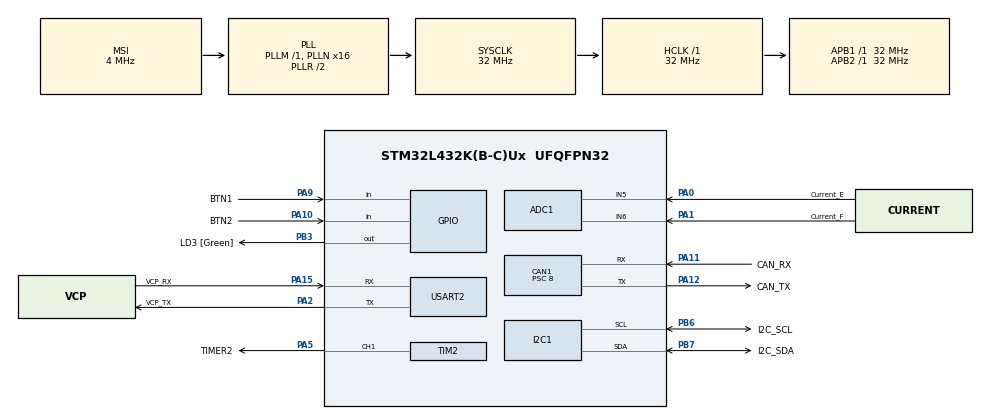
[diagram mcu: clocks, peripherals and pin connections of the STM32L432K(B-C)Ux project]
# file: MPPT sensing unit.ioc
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ADC1.Channel-0\#ChannelRegularConversion=ADC_CHANNEL_5
ADC1.Channel-1\#ChannelRegularConversion=ADC_CHANNEL_6
ADC1.ContinuousConvMode=DISABLE
ADC1.NbrOfConversion=2
ADC1.NbrOfConversionFlag=1
ADC1.OffsetNumber-0\#ChannelRegularConversion=ADC_OFFSET_NONE
ADC1.OffsetNumber-1\#ChannelRegularConversion=ADC_OFFSET_NONE
ADC1.Rank-0\#ChannelRegularConversion=1
ADC1.Rank-1\#ChannelRegularConversion=2
ADC1.SamplingTime-0\#ChannelRegularConversion=ADC_SAMPLETIME_2CYCLES_5
ADC1.SamplingTime-1\#ChannelRegularConversion=ADC_SAMPLETIME_2CYCLES_5
ADC1.master=1
CAN1.BS1=CAN_BS1_7TQ
CAN1.BS2=CAN_BS2_8TQ
CAN1.CalculateBaudRate=250000
CAN1.CalculateTimeBit=4000
CAN1.CalculateTimeQuantum=250.0
CAN1.Prescaler=8
Dma.ADC1.2.Direction=DMA_PERIPH_TO_MEMORY
Dma.ADC1.2.Instance=DMA1_Channel1
Dma.ADC1.2.MemDataAlignment=DMA_MDATAALIGN_HALFWORD
Dma.ADC1.2.MemInc=DMA_MINC_ENABLE
Dma.ADC1.2.Mode=DMA_NORMAL
Dma.ADC1.2.PeriphDataAlignment=DMA_PDATAALIGN_HALFWORD
Dma.ADC1.2.PeriphInc=DMA_PINC_DISABLE
Dma.ADC1.2.Priority=DMA_PRIORITY_LOW
Dma.I2C1_RX.0.Direction=DMA_PERIPH_TO_MEMORY
Dma.I2C1_RX.0.Instance=DMA1_Channel7
Dma.I2C1_RX.0.MemDataAlignment=DMA_MDATAALIGN_BYTE
Dma.I2C1_RX.0.MemInc=DMA_MINC_ENABLE
Dma.I2C1_RX.0.Mode=DMA_NORMAL
Dma.I2C1_RX.0.PeriphDataAlignment=DMA_PDATAALIGN_BYTE
Dma.I2C1_RX.0.PeriphInc=DMA_PINC_DISABLE
Dma.I2C1_RX.0.Priority=DMA_PRIORITY_LOW
Dma.I2C1_TX.1.Direction=DMA_MEMORY_TO_PERIPH
Dma.I2C1_TX.1.Instance=DMA1_Channel6
Dma.I2C1_TX.1.MemDataAlignment=DMA_MDATAALIGN_BYTE
Dma.I2C1_TX.1.MemInc=DMA_MINC_ENABLE
Dma.I2C1_TX.1.Mode=DMA_NORMAL
Dma.I2C1_TX.1.PeriphDataAlignment=DMA_PDATAALIGN_BYTE
Dma.I2C1_TX.1.PeriphInc=DMA_PINC_DISABLE
Dma.I2C1_TX.1.Priority=DMA_PRIORITY_LOW
Dma.Request0=I2C1_RX
Dma.Request1=I2C1_TX
Dma.Request2=ADC1
I2C1.Timing=0x00707CBB
Mcu.Family=STM32L4
Mcu.Name=STM32L432K(B-C)Ux
Mcu.Package=UFQFPN32
NVIC.DMA1_Channel1_IRQn=true\:0\:0\:false\:false\:true\:false\:true\:true
NVIC.DMA1_Channel6_IRQn=true\:0\:0\:false\:false\:true\:false\:true\:true
NVIC.DMA1_Channel7_IRQn=true\:0\:0\:false\:false\:true\:false\:true\:true
NVIC.I2C1_ER_IRQn=true\:0\:0\:false\:false\:true\:true\:true\:true
NVIC.I2C1_EV_IRQn=true\:0\:0\:false\:false\:true\:true\:true\:true
NVIC.PriorityGroup=NVIC_PRIORITYGROUP_4
NVIC.TIM2_IRQn=true\:0\:0\:false\:false\:true\:true\:true\:true
PA0.GPIO_Label=Current_E
PA0.Signal=ADCx_IN5
PA1.GPIO_Label=Current_F
PA1.Signal=ADCx_IN6
PA10.GPIO_Label=BTN2
PA10.Signal=GPIO_Input
PA11.GPIO_Label=CAN_RX
PA11.Mode=CAN_Activate
PA11.Signal=CAN1_RX
PA12.GPIO_Label=CAN_TX
PA12.Mode=CAN_Activate
PA12.Signal=CAN1_TX
PA13\ (JTMS-SWDIO).GPIO_Label=SWDIO
PA13\ (JTMS-SWDIO).Mode=Serial_Wire
PA13\ (JTMS-SWDIO).Signal=SYS_JTMS-SWDIO
PA14\ (JTCK-SWCLK).GPIO_Label=SWCLK
PA14\ (JTCK-SWCLK).Mode=Serial_Wire
PA14\ (JTCK-SWCLK).Signal=SYS_JTCK-SWCLK
PA15\ (JTDI).GPIO_Label=VCP_RX
PA15\ (JTDI).Mode=Asynchronous
PA15\ (JTDI).Signal=USART2_RX
PA2.GPIO_Label=VCP_TX
PA2.Mode=Asynchronous
PA2.Signal=USART2_TX
PA5.GPIO_Label=TIMER2
PA5.Signal=S_TIM2_CH1
PA9.GPIO_Label=BTN1
PA9.GPIO_Mode=GPIO_MODE_INPUT
PA9.Signal=GPIO_Input
PB3\ (JTDO-TRACESWO).GPIO_Label=LD3 [Green]
PB3\ (JTDO-TRACESWO).Signal=GPIO_Output
PB6.GPIO_Label=I2C_SCL
PB6.GPIO_Pu=GPIO_PULLUP
PB6.Mode=I2C
PB6.Signal=I2C1_SCL
PB7.GPIO_Label=I2C_SDA
PB7.GPIO_Pu=GPIO_PULLUP
PB7.Mode=I2C
PB7.Signal=I2C1_SDA
PC14-OSC32_IN\ (PC14).Mode=LSE-External-Oscillator
PC14-OSC32_IN\ (PC14).Signal=RCC_OSC32_IN
PC15-OSC32_OUT\ (PC15).Mode=LSE-External-Oscillator
PC15-OSC32_OUT\ (PC15).Signal=RCC_OSC32_OUT
ProjectManager.HeapSize=0x200
ProjectManager.StackSize=0x400
ProjectManager.TargetToolchain=STM32CubeIDE
RCC.ADCFreq_Value=32000000
RCC.AHBFreq_Value=32000000
RCC.APB1Freq_Value=32000000
RCC.APB1TimFreq_Value=32000000
RCC.APB2Freq_Value=32000000
RCC.APB2TimFreq_Value=32000000
RCC.CortexFreq_Value=32000000
RCC.HCLKFreq_Value=32000000
RCC.HSE_VALUE=8000000
RCC.HSI16_VALUE=16000000
RCC.HSI48_VALUE=48000000
RCC.HSI_VALUE=16000000
RCC.MSI_VALUE=4000000
RCC.PLLMUL=RCC_PLLMUL_4
RCC.PLLN=16
RCC.PLLSAI1N=16
RCC.SYSCLKFreq_VALUE=32000000
RCC.SYSCLKSource=RCC_SYSCLKSOURCE_PLLCLK
RCC.USBFreq_Value=32000000
RCC.VCOOutputFreq_Value=64000000
SH.ADCx_IN5.0=ADC1_IN5,IN5-Single-Ended
SH.ADCx_IN6.0=ADC1_IN6,IN6-Single-Ended
SH.S_TIM2_CH1.0=TIM2_CH1,Forced Output1 CH1
TIM2.Channel-Forced\ Output1\ CH1=TIM_CHANNEL_1
TIM2.Period=10
TIM2.Prescaler=32000 - 1
USART2.VirtualMode-Asynchronous=VM_ASYNC
VP_TIM2_VS_ClockSourceINT.Mode=Internal
board=NUCLEO-L432KC

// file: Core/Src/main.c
/* USER CODE BEGIN Header */
/**
  ******************************************************************************
  * @file           : main.c
  * @brief          : Main program body
  ******************************************************************************
  * @attention
  *
  * Copyright (c) 2023 STMicroelectronics.
  * All rights reserved.
  *
  * This software is licensed under terms that can be found in the LICENSE file
  * in the root directory of this software component.
  * If no LICENSE file comes with this software, it is provided AS-IS.
  *
  ******************************************************************************
  */
/* USER CODE END Header */
#include "main.h"

/* USER CODE BEGIN Includes */
#include <stdio.h>
#include <string.h>
#include <stdbool.h>

#include "HSB_DebugPrint.h"
#include "HSB_VoltageModule.h"
#include "HSB_CurrentModule.h"
/* USER CODE END Includes */

ADC_HandleTypeDef hadc1;
DMA_HandleTypeDef hdma_adc1;

CAN_HandleTypeDef hcan1;

I2C_HandleTypeDef hi2c1;
DMA_HandleTypeDef hdma_i2c1_rx;
DMA_HandleTypeDef hdma_i2c1_tx;

TIM_HandleTypeDef htim2;

UART_HandleTypeDef huart2;

/* USER CODE BEGIN PV */

float MiliCurrentE;
float MiliCurrentF;
float CurrentE;
float CurrentF;
float VoltageE;
float VoltageF;
float PowerE;
float PowerF;

CAN_TxHeaderTypeDef   	TxHeader;
uint8_t               	TxData[8];
uint32_t              	TxMailbox;

/* USER CODE END PV */

void SystemClock_Config(void);
static void MX_GPIO_Init(void);
static void MX_DMA_Init(void);
static void MX_USART2_UART_Init(void);
static void MX_ADC1_Init(void);
static void MX_I2C1_Init(void);
static void MX_CAN1_Init(void);
static void MX_TIM2_Init(void);
/* USER CODE BEGIN PFP */
void sendMessage(uint8_t group);
void CAN_TX_filter_init(void);
/* USER CODE END PFP */

int main(void)
{

  /* MCU Configuration--------------------------------------------------------*/

  /* Reset of all peripherals, Initializes the Flash interface and the Systick. */
  HAL_Init();

  /* Configure the system clock */
  SystemClock_Config();

  /* Initialize all configured peripherals */
  MX_GPIO_Init();
  MX_DMA_Init();
  MX_USART2_UART_Init();
  MX_ADC1_Init();
  MX_I2C1_Init();
  MX_CAN1_Init();
  MX_TIM2_Init();
  /* USER CODE BEGIN 2 */
  CAN_TX_filter_init();
  HSB_DebugPrint_Init(false);
  HSB_VoltageModule_Init(0x68);

  //HAL_ADC_Start_DMA(&hadc1, (uint32_t *) rawValues, 2);
  /* USER CODE END 2 */

  /* Infinite loop */
  while (1)
  {

    /* USER CODE BEGIN 3 */
	  MX_ADC1_Init();
	  HSB_ReadCurrentModule(&MiliCurrentE, &MiliCurrentF);
	  HSB_VoltageModule(&VoltageE, &VoltageF);

	  CurrentE = MiliCurrentE / 1000;
	  CurrentF = MiliCurrentF / 1000;

	  PowerE = VoltageE * CurrentE;
	  PowerF = VoltageF * CurrentF;

	  HAL_Delay(1000);
  }
  /* USER CODE END 3 */
}

void SystemClock_Config(void)
{
  RCC_OscInitTypeDef RCC_OscInitStruct = {0};
  RCC_ClkInitTypeDef RCC_ClkInitStruct = {0};

  /** Configure the main internal regulator output voltage
  */
  if (HAL_PWREx_ControlVoltageScaling(PWR_REGULATOR_VOLTAGE_SCALE1) != HAL_OK)
  {
    Error_Handler();
  }

  /** Configure LSE Drive Capability
  */
  HAL_PWR_EnableBkUpAccess();
  __HAL_RCC_LSEDRIVE_CONFIG(RCC_LSEDRIVE_LOW);

  /** Initializes the RCC Oscillators according to the specified parameters
  * in the RCC_OscInitTypeDef structure.
  */
  RCC_OscInitStruct.OscillatorType = RCC_OSCILLATORTYPE_LSE|RCC_OSCILLATORTYPE_MSI;
  RCC_OscInitStruct.LSEState = RCC_LSE_ON;
  RCC_OscInitStruct.MSIState = RCC_MSI_ON;
  RCC_OscInitStruct.MSICalibrationValue = 0;
  RCC_OscInitStruct.MSIClockRange = RCC_MSIRANGE_6;
  RCC_OscInitStruct.PLL.PLLState = RCC_PLL_ON;
  RCC_OscInitStruct.PLL.PLLSource = RCC_PLLSOURCE_MSI;
  RCC_OscInitStruct.PLL.PLLM = 1;
  RCC_OscInitStruct.PLL.PLLN = 16;
  RCC_OscInitStruct.PLL.PLLP = RCC_PLLP_DIV7;
  RCC_OscInitStruct.PLL.PLLQ = RCC_PLLQ_DIV2;
  RCC_OscInitStruct.PLL.PLLR = RCC_PLLR_DIV2;
  if (HAL_RCC_OscConfig(&RCC_OscInitStruct) != HAL_OK)
  {
    Error_Handler();
  }

  /** Initializes the CPU, AHB and APB buses clocks
  */
  RCC_ClkInitStruct.ClockType = RCC_CLOCKTYPE_HCLK|RCC_CLOCKTYPE_SYSCLK
                              |RCC_CLOCKTYPE_PCLK1|RCC_CLOCKTYPE_PCLK2;
  RCC_ClkInitStruct.SYSCLKSource = RCC_SYSCLKSOURCE_PLLCLK;
  RCC_ClkInitStruct.AHBCLKDivider = RCC_SYSCLK_DIV1;
  RCC_ClkInitStruct.APB1CLKDivider = RCC_HCLK_DIV1;
  RCC_ClkInitStruct.APB2CLKDivider = RCC_HCLK_DIV1;

  if (HAL_RCC_ClockConfig(&RCC_ClkInitStruct, FLASH_LATENCY_1) != HAL_OK)
  {
    Error_Handler();
  }

  /** Enable MSI Auto calibration
  */
  HAL_RCCEx_EnableMSIPLLMode();
}

static void MX_ADC1_Init(void)
{

  ADC_ChannelConfTypeDef sConfig = {0};

  /** Common config
  */
  hadc1.Instance = ADC1;
  hadc1.Init.ClockPrescaler = ADC_CLOCK_ASYNC_DIV1;
  hadc1.Init.Resolution = ADC_RESOLUTION_12B;
  hadc1.Init.DataAlign = ADC_DATAALIGN_RIGHT;
  hadc1.Init.ScanConvMode = ADC_SCAN_ENABLE;
  hadc1.Init.EOCSelection = ADC_EOC_SINGLE_CONV;
  hadc1.Init.LowPowerAutoWait = DISABLE;
  hadc1.Init.ContinuousConvMode = DISABLE;
  hadc1.Init.NbrOfConversion = 2;
  hadc1.Init.DiscontinuousConvMode = DISABLE;
  hadc1.Init.ExternalTrigConv = ADC_SOFTWARE_START;
  hadc1.Init.ExternalTrigConvEdge = ADC_EXTERNALTRIGCONVEDGE_NONE;
  hadc1.Init.DMAContinuousRequests = DISABLE;
  hadc1.Init.Overrun = ADC_OVR_DATA_PRESERVED;
  hadc1.Init.OversamplingMode = DISABLE;
  if (HAL_ADC_Init(&hadc1) != HAL_OK)
  {
    Error_Handler();
  }

  /** Configure Regular Channel
  */
  sConfig.Channel = ADC_CHANNEL_5;
  sConfig.Rank = ADC_REGULAR_RANK_1;
  sConfig.SamplingTime = ADC_SAMPLETIME_2CYCLES_5;
  sConfig.SingleDiff = ADC_SINGLE_ENDED;
  sConfig.OffsetNumber = ADC_OFFSET_NONE;
  sConfig.Offset = 0;
  if (HAL_ADC_ConfigChannel(&hadc1, &sConfig) != HAL_OK)
  {
    Error_Handler();
  }

  /** Configure Regular Channel
  */
  sConfig.Channel = ADC_CHANNEL_6;
  sConfig.Rank = ADC_REGULAR_RANK_2;
  if (HAL_ADC_ConfigChannel(&hadc1, &sConfig) != HAL_OK)
  {
    Error_Handler();
  }

}

static void MX_CAN1_Init(void)
{

  hcan1.Instance = CAN1;
  hcan1.Init.Prescaler = 8;
  hcan1.Init.Mode = CAN_MODE_NORMAL;
  hcan1.Init.SyncJumpWidth = CAN_SJW_1TQ;
  hcan1.Init.TimeSeg1 = CAN_BS1_7TQ;
  hcan1.Init.TimeSeg2 = CAN_BS2_8TQ;
  hcan1.Init.TimeTriggeredMode = DISABLE;
  hcan1.Init.AutoBusOff = DISABLE;
  hcan1.Init.AutoWakeUp = DISABLE;
  hcan1.Init.AutoRetransmission = DISABLE;
  hcan1.Init.ReceiveFifoLocked = DISABLE;
  hcan1.Init.TransmitFifoPriority = DISABLE;
  if (HAL_CAN_Init(&hcan1) != HAL_OK)
  {
    Error_Handler();
  }
  /* USER CODE BEGIN CAN1_Init 2 */

  if (HAL_CAN_Start(&hcan1) != HAL_OK) {
	  Error_Handler();
  }

  /* USER CODE END CAN1_Init 2 */

}

static void MX_I2C1_Init(void)
{

  hi2c1.Instance = I2C1;
  hi2c1.Init.Timing = 0x00707CBB;
  hi2c1.Init.OwnAddress1 = 0;
  hi2c1.Init.AddressingMode = I2C_ADDRESSINGMODE_7BIT;
  hi2c1.Init.DualAddressMode = I2C_DUALADDRESS_DISABLE;
  hi2c1.Init.OwnAddress2 = 0;
  hi2c1.Init.OwnAddress2Masks = I2C_OA2_NOMASK;
  hi2c1.Init.GeneralCallMode = I2C_GENERALCALL_DISABLE;
  hi2c1.Init.NoStretchMode = I2C_NOSTRETCH_DISABLE;
  if (HAL_I2C_Init(&hi2c1) != HAL_OK)
  {
    Error_Handler();
  }

  /** Configure Analogue filter
  */
  if (HAL_I2CEx_ConfigAnalogFilter(&hi2c1, I2C_ANALOGFILTER_ENABLE) != HAL_OK)
  {
    Error_Handler();
  }

  /** Configure Digital filter
  */
  if (HAL_I2CEx_ConfigDigitalFilter(&hi2c1, 0) != HAL_OK)
  {
    Error_Handler();
  }

}

static void MX_TIM2_Init(void)
{

  TIM_ClockConfigTypeDef sClockSourceConfig = {0};
  TIM_MasterConfigTypeDef sMasterConfig = {0};
  TIM_OC_InitTypeDef sConfigOC = {0};

  htim2.Instance = TIM2;
  htim2.Init.Prescaler = 32000 - 1;
  htim2.Init.CounterMode = TIM_COUNTERMODE_UP;
  htim2.Init.Period = 10;
  htim2.Init.ClockDivision = TIM_CLOCKDIVISION_DIV1;
  htim2.Init.AutoReloadPreload = TIM_AUTORELOAD_PRELOAD_DISABLE;
  if (HAL_TIM_Base_Init(&htim2) != HAL_OK)
  {
    Error_Handler();
  }
  sClockSourceConfig.ClockSource = TIM_CLOCKSOURCE_INTERNAL;
  if (HAL_TIM_ConfigClockSource(&htim2, &sClockSourceConfig) != HAL_OK)
  {
    Error_Handler();
  }
  if (HAL_TIM_OC_Init(&htim2) != HAL_OK)
  {
    Error_Handler();
  }
  sMasterConfig.MasterOutputTrigger = TIM_TRGO_RESET;
  sMasterConfig.MasterSlaveMode = TIM_MASTERSLAVEMODE_DISABLE;
  if (HAL_TIMEx_MasterConfigSynchronization(&htim2, &sMasterConfig) != HAL_OK)
  {
    Error_Handler();
  }
  sConfigOC.OCMode = TIM_OCMODE_FORCED_ACTIVE;
  sConfigOC.Pulse = 0;
  sConfigOC.OCPolarity = TIM_OCPOLARITY_HIGH;
  sConfigOC.OCFastMode = TIM_OCFAST_DISABLE;
  if (HAL_TIM_OC_ConfigChannel(&htim2, &sConfigOC, TIM_CHANNEL_1) != HAL_OK)
  {
    Error_Handler();
  }
  HAL_TIM_MspPostInit(&htim2);

}

static void MX_USART2_UART_Init(void)
{

  huart2.Instance = USART2;
  huart2.Init.BaudRate = 115200;
  huart2.Init.WordLength = UART_WORDLENGTH_8B;
  huart2.Init.StopBits = UART_STOPBITS_1;
  huart2.Init.Parity = UART_PARITY_NONE;
  huart2.Init.Mode = UART_MODE_TX_RX;
  huart2.Init.HwFlowCtl = UART_HWCONTROL_NONE;
  huart2.Init.OverSampling = UART_OVERSAMPLING_16;
  huart2.Init.OneBitSampling = UART_ONE_BIT_SAMPLE_DISABLE;
  huart2.AdvancedInit.AdvFeatureInit = UART_ADVFEATURE_NO_INIT;
  if (HAL_UART_Init(&huart2) != HAL_OK)
  {
    Error_Handler();
  }

}

static void MX_DMA_Init(void)
{

  /* DMA controller clock enable */
  __HAL_RCC_DMA1_CLK_ENABLE();

  /* DMA interrupt init */
  /* DMA1_Channel1_IRQn interrupt configuration */
  HAL_NVIC_SetPriority(DMA1_Channel1_IRQn, 0, 0);
  HAL_NVIC_EnableIRQ(DMA1_Channel1_IRQn);
  /* DMA1_Channel6_IRQn interrupt configuration */
  HAL_NVIC_SetPriority(DMA1_Channel6_IRQn, 0, 0);
  HAL_NVIC_EnableIRQ(DMA1_Channel6_IRQn);
  /* DMA1_Channel7_IRQn interrupt configuration */
  HAL_NVIC_SetPriority(DMA1_Channel7_IRQn, 0, 0);
  HAL_NVIC_EnableIRQ(DMA1_Channel7_IRQn);

}

static void MX_GPIO_Init(void)
{
  GPIO_InitTypeDef GPIO_InitStruct = {0};

  /* GPIO Ports Clock Enable */
  __HAL_RCC_GPIOC_CLK_ENABLE();
  __HAL_RCC_GPIOA_CLK_ENABLE();
  __HAL_RCC_GPIOB_CLK_ENABLE();

  /*Configure GPIO pin Output Level */
  HAL_GPIO_WritePin(LD3_GPIO_Port, LD3_Pin, GPIO_PIN_RESET);

  /*Configure GPIO pins : BTN1_Pin BTN2_Pin */
  GPIO_InitStruct.Pin = BTN1_Pin|BTN2_Pin;
  GPIO_InitStruct.Mode = GPIO_MODE_INPUT;
  GPIO_InitStruct.Pull = GPIO_NOPULL;
  HAL_GPIO_Init(GPIOA, &GPIO_InitStruct);

  /*Configure GPIO pin : LD3_Pin */
  GPIO_InitStruct.Pin = LD3_Pin;
  GPIO_InitStruct.Mode = GPIO_MODE_OUTPUT_PP;
  GPIO_InitStruct.Pull = GPIO_NOPULL;
  GPIO_InitStruct.Speed = GPIO_SPEED_FREQ_LOW;
  HAL_GPIO_Init(LD3_GPIO_Port, &GPIO_InitStruct);

}

/* USER CODE BEGIN 4 */
void sendMessage(uint8_t group){
	uint16_t current;
	uint16_t voltage;
	uint16_t power;

	switch(group){
		case 'E':
			current = (uint16_t)(CurrentE * 100);
			voltage = (uint16_t)(VoltageE * 100);
			power = (uint16_t)(PowerE * 100);
			break;
		case 'F':
			current = (uint16_t)(CurrentF * 100);
			voltage = (uint16_t)(VoltageF * 100);
			power = (uint16_t)(PowerF * 100);
			break;
		default:
			current = 0;
			voltage = 0;
			power = 0;
	}

	TxData[0] = group;
	TxData[1] = (voltage & 0xFF00) >> 8;
	TxData[2] = voltage & 0x00FF;
	TxData[3] = (current & 0xFF00) >> 8;
	TxData[4] = current & 0x00FF;
	TxData[5] = (power & 0xFF00) >> 8;
	TxData[6] = power & 0x00FF;
	TxData[7] = 0;

	if (HAL_CAN_AddTxMessage(&hcan1, &TxHeader, (uint8_t*)TxData, &TxMailbox) != HAL_OK)
	{
	  uint32_t error = HAL_CAN_GetError(&hcan1);
	  HSB_DebugPrint("Error while sending Can Message : %un", error);
	  Error_Handler ();
	}
}

void CAN_TX_filter_init(void)
{
	TxHeader.StdId = 0x200;
	TxHeader.ExtId = 0;
	TxHeader.IDE = CAN_ID_STD;
	TxHeader.RTR = CAN_RTR_DATA;
	TxHeader.DLC = 8;
	TxHeader.TransmitGlobalTime = DISABLE;
}

/* USER CODE END 4 */

void Error_Handler(void)
{
  __disable_irq();
  while (1)
  {
  }
}
